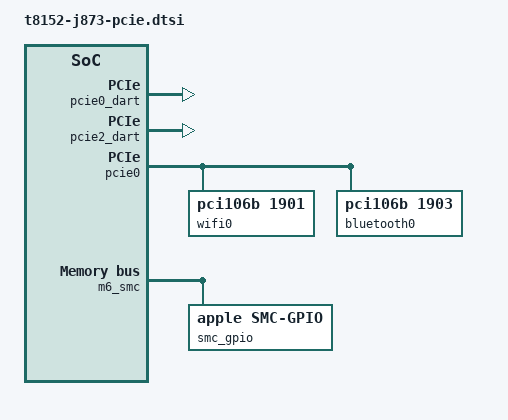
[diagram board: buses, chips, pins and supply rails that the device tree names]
// SPDX-License-Identifier: GPL-2.0+ OR MIT
/*
 * J873 (Mac mini M6, T8152) APCIe: port 0 = Apple N1 "Centauri" Wi-Fi/Bluetooth, port 2 = Ethernet (lan0).
 *
 * Every address, interrupt, GPIO and stream number below is read from the live J873 ADT (m6-experiment-adt-20261019,
 * firmware 26A428/26A434 generation) and cross-checked against the T8140 pattern in t8140-j700-hybrid-additions.dtsi.
 * Nothing in this file has run on a J873. UNPROVEN items are marked "UNPROVEN" and listed in
 * tools/aurora/j873/radio/README.md. Opt-in: only t8152-j873-radio.dts includes it.
 *
 * ADDRESSES ARE PHYSICAL. The ADT stores /arm-io children in bus addresses; /arm-io's first range maps bus 0..0x400000000 to
 * parent 0x200000000, so every address below 0x400000000 below gains +0x200000000 (aic 0x101000000 -> 0x301000000 and
 * smc 0x10c600000 -> 0x30c600000 are the nodes t8152-j873.dts already uses). ECAM 0x1cb0000000 and the PCI windows 0xbc0000000 and
 * 0xb80000000 are identity ranges and do not change. Receipt: tools/aurora/j873/radio/adt-translate.out (script adt-translate.py).
 *
 * ADT facts (apcie = apcie,t8152, 3 ports declared, #ports = 3, ports 0 and 2 present). Bus address -> physical:
 *   regs   [0] ECAM 0x1cb0000000, [1] RC bus 0x18c000000 -> 0x38c000000, [10] port0 0x388028000, [16] port1 0x389028000,
 *          [22] port2 0x38a028000 (28 entries = 10 shared + 3 ports x 6; the T8140 has 7 shared)
 *   irqs   apcie 1571 1579 1587 (ports 0,1,2) and 1566 (not used by the driver); dart-apcie0 1572, dart-apcie2 1588;
 *          apcie0-piodma 1573, apcie2-piodma 1589; msi-vector-offset 1879, 96 vectors (ports share one window)
 *   dart   dart-apcie0 0x388000000 (control/alpha/beta/piodma streams, sid-count 19), dart-apcie2 0x38a000000
 *   gpio   gpio0 0x31a000000 (gpio,t8101, 224 pins, 7 interrupt groups 433..439; the Neo's pinctrl is at the same physical address);
 *          port0 PERST 3, CLKREQ 0; port2 PERST 5, CLKREQ 2; port0 reg_on = pKW8("pcIO", 0x800000, 0x130000) on the SMC
 *   power  power-gates/clock-gates/service-gates are all None: the ADT has no PMGR power domain for the APCIe, so none is attached
 */
#include <dt-bindings/gpio/gpio.h>

/ {
	aliases {
		wifi0 = &wifi0;
		bluetooth0 = &bluetooth0;
		ethernet0 = &ethernet0;
	};

	soc {
		pinctrl_ap: pinctrl@31a000000 {
			compatible = "apple,t8152-pinctrl", "apple,t8103-pinctrl";
			reg = <0x3 0x1a000000 0x0 0x100000>;

			gpio-controller;
			#gpio-cells = <2>;
			gpio-ranges = <&pinctrl_ap 0 0 224>;
			apple,npins = <224>;

			interrupt-controller;
			#interrupt-cells = <2>;
			interrupt-parent = <&aic>;
			interrupts = <AIC_IRQ 433 IRQ_TYPE_LEVEL_HIGH>,
				     <AIC_IRQ 434 IRQ_TYPE_LEVEL_HIGH>,
				     <AIC_IRQ 435 IRQ_TYPE_LEVEL_HIGH>,
				     <AIC_IRQ 436 IRQ_TYPE_LEVEL_HIGH>,
				     <AIC_IRQ 437 IRQ_TYPE_LEVEL_HIGH>,
				     <AIC_IRQ 438 IRQ_TYPE_LEVEL_HIGH>,
				     <AIC_IRQ 439 IRQ_TYPE_LEVEL_HIGH>;
		};

		/* Port 0 stream owner: control, alpha and beta use SIDs 1, 2 and 3 (slot == SID), the PIODMA stream is 17. */
		pcie0_dart: iommu@388000000 {
			compatible = "apple,t8152-dart", "apple,t8110-dart";
			reg = <0x3 0x88000000 0x0 0x20000>;
			#iommu-cells = <1>;
			interrupt-parent = <&aic>;
			interrupts = <AIC_IRQ 1572 IRQ_TYPE_LEVEL_HIGH>;
		};

		/* Port 2 (Ethernet) stream owner. */
		pcie2_dart: iommu@38a000000 {
			compatible = "apple,t8152-dart", "apple,t8110-dart";
			reg = <0x3 0x8a000000 0x0 0x20000>;
			#iommu-cells = <1>;
			interrupt-parent = <&aic>;
			interrupts = <AIC_IRQ 1588 IRQ_TYPE_LEVEL_HIGH>;
		};

		/*
		 * Port 0 PIODMA. The window values are the ECAM and the two bus ranges of the ADT; they equal the T8140's
		 * (ECAM 0x1cb0000000/0x10000000, 64-bit window 0xbc0000000/0x20000000, 32-bit window 0xb80000000/0x40000000).
		 * UNPROVEN: the driver takes one apple,piodma phandle, so port 2's PIODMA (apcie2-piodma, bus 0x18a030000,
		 * IRQ 1589, physical 0x38a030000) is not described.
		 */
		piodma_radio: piodma@388030000 {
			compatible = "apple,t8140-pcie-piodma";
			reg = <0x3 0x88030000 0x0 0x4000>,
			      <0x3 0x88034000 0x0 0x4000>,
			      <0x3 0x88038000 0x0 0x4000>;
			reg-names = "engine", "irq-aggregator", "fabric";
			interrupt-parent = <&aic>;
			interrupts = <AIC_IRQ 1573 IRQ_TYPE_LEVEL_HIGH>;
			iommus = <&pcie0_dart 17>;
			apple,iova-address-bits = <36>;
			apple,piodma-base-addresses = <0x1c 0xb0000000>,
						      <0xb 0xc0000000>,
						      <0xb 0x80000000>;
			apple,piodma-aperture-sizes = <0x0 0x10000000>,
						      <0x0 0x20000000>,
						      <0x0 0x40000000>;
		};

		pcie0: pcie@1cb0000000 {
			compatible = "apple,t8152-pcie", "apple,t8140-pcie", "apple,t6020-pcie";
			device_type = "pci";

			reg = <0x1c 0xb0000000 0x0 0x10000000>, /* ECAM */
			      <0x3 0x8c000000 0x0 0x4000>,      /* RC */
			      <0x3 0x88028000 0x0 0x8000>,      /* port 0 */
			      <0x3 0x89028000 0x0 0x8000>,      /* port 1 (not populated) */
			      <0x3 0x8a028000 0x0 0x8000>,      /* port 2 */
			      <0x3 0x8f020000 0x0 0x4000>,      /* port 0 PHY: the T8140's phy0 offset (base + 0x7020000) */
			      <0x3 0x8f024000 0x0 0x4000>,      /* UNPROVEN: port 1 PHY, +0x4000 stride as T6030 */
			      <0x3 0x8f028000 0x0 0x4000>;      /* UNPROVEN: port 2 PHY, +0x4000 stride as T6030 */
			reg-names = "config", "rc", "port0", "port1", "port2", "phy0", "phy1", "phy2";

			interrupt-parent = <&aic>;
			interrupts = <AIC_IRQ 1571 IRQ_TYPE_LEVEL_HIGH>,
				     <AIC_IRQ 1579 IRQ_TYPE_LEVEL_HIGH>,
				     <AIC_IRQ 1587 IRQ_TYPE_LEVEL_HIGH>,
				     <AIC_IRQ 1566 IRQ_TYPE_LEVEL_HIGH>;

			msi-controller;
			msi-parent = <&pcie0>;
			msi-ranges = <&aic AIC_IRQ 1879 IRQ_TYPE_EDGE_RISING 32>;

			/*
			 * Bus 1 is port 0 (Centauri control, alpha, beta = functions 0, 1, 2 -> SIDs 1, 2, 3);
			 * bus 2 is port 2 (lan0 -> SID 1 of its own DART).
			 */
			iommu-map = <0x100 &pcie0_dart 1 1>,
				    <0x101 &pcie0_dart 2 1>,
				    <0x102 &pcie0_dart 3 1>,
				    <0x200 &pcie2_dart 1 1>;
			iommu-map-mask = <0xffff>;
			dma-coherent;
			apple,valid-functions = <0x7>;
			apple,endpoint-iova-address-bits = <32>;
			apple,piodma = <&piodma_radio>;

			bus-range = <0 2>;
			#address-cells = <3>;
			#size-cells = <2>;
			ranges = <0x43000000 0xb 0xc0000000 0xb 0xc0000000 0x0 0x20000000>,
				 <0x02000000 0x0 0x80000000 0xb 0x80000000 0x0 0x40000000>;

			port00: pci@0,0 {
				device_type = "pci";
				reg = <0x0 0x0 0x0 0x0 0x0>;
				bus-range = <1 1>;
				reset-gpios = <&pinctrl_ap 3 GPIO_ACTIVE_LOW>;
				/*
				 * ADT function-reset = pKW8("pcIO", 0x800000, 0x130000): SMC pin 0x13 (19) on J873
				 * (gpio-macsmc.c). UNPROVEN: the write has not been tried on a J873.
				 */
				pwren-gpios = <&smc_gpio 19 GPIO_ACTIVE_HIGH>;
				maximum-link-speed = <3>; /* ADT pci-bridge0 maximum-link-speed */

				#address-cells = <3>;
				#size-cells = <2>;
				ranges;

				interrupt-controller;
				#interrupt-cells = <1>;
				interrupt-map-mask = <0 0 0 7>;
				interrupt-map = <0 0 0 1 &port00 0 0 0 0>,
						<0 0 0 2 &port00 0 0 0 1>,
						<0 0 0 3 &port00 0 0 0 2>,
						<0 0 0 4 &port00 0 0 0 3>;

				/* PCI 106b:1901 (alpha, function 1), Wi-Fi. The MAC is filled by the loader from /chosen mac-address-wifi0. */
				wifi0: wifi@0,1 {
					compatible = "pci106b,1901";
					reg = <0x10100 0x0 0x0 0x0 0x0>;
					local-mac-address = [00 00 00 00 00 00];
				};

				/* PCI 106b:1903 (beta, function 2), Bluetooth. Address filled by the loader from /chosen mac-address-bluetooth0. */
				bluetooth0: bluetooth@0,2 {
					compatible = "pci106b,1903";
					reg = <0x10200 0x0 0x0 0x0 0x0>;
					local-bd-address = [00 00 00 00 00 00];
				};
			};

			/* Port 1 is not populated on this board. */
			port01: pci@1,0 {
				device_type = "pci";
				reg = <0x800 0x0 0x0 0x0 0x0>;
				#address-cells = <3>;
				#size-cells = <2>;
				ranges;
				status = "disabled";
			};

			port02: pci@2,0 {
				device_type = "pci";
				reg = <0x1000 0x0 0x0 0x0 0x0>;
				bus-range = <2 2>;
				reset-gpios = <&pinctrl_ap 5 GPIO_ACTIVE_LOW>;

				#address-cells = <3>;
				#size-cells = <2>;
				ranges;

				interrupt-controller;
				#interrupt-cells = <1>;
				interrupt-map-mask = <0 0 0 7>;
				interrupt-map = <0 0 0 1 &port02 0 0 0 0>,
						<0 0 0 2 &port02 0 0 0 1>,
						<0 0 0 3 &port02 0 0 0 2>,
						<0 0 0 4 &port02 0 0 0 3>;

				/* lan0, a built-in function. The chip is read from its PCI IDs once it enumerates; the MAC comes from /chosen mac-address-ethernet0. */
				ethernet0: ethernet@0,0 {
					reg = <0x20000 0x0 0x0 0x0 0x0>;
					local-mac-address = [00 00 00 00 00 00];
				};
			};
		};
	};
};

&m6_smc {
	/* SMC GPIO provider: port 0's reg_on is an SMC "pcIO" write, not a GPIO of gpio0. */
	smc_gpio: gpio {
		compatible = "apple,smc-gpio";
		gpio-controller;
		#gpio-cells = <2>;
	};
};
